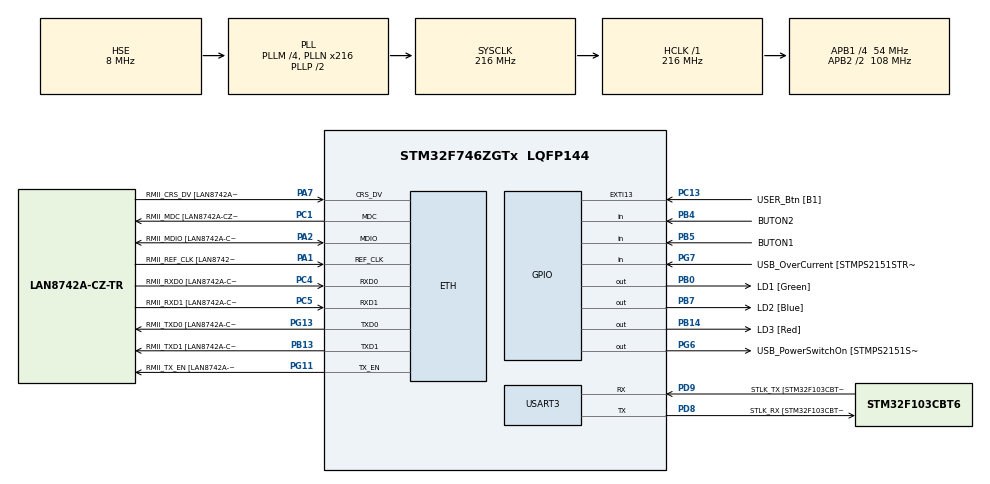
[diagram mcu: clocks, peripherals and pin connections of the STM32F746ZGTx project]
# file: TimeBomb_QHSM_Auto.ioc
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ETH.MediaInterface=ETH_MEDIA_INTERFACE_RMII
ETH.PHY_Name=LAN8742A_PHY_ADDRESS
ETH.PHY_Value=0
ETH.PhyAddress=0
Mcu.Family=STM32F7
Mcu.Name=STM32F746ZGTx
Mcu.Package=LQFP144
NVIC.EXTI15_10_IRQn=true\:0\:0\:false\:false\:true\:true\:true\:true
NVIC.PriorityGroup=NVIC_PRIORITYGROUP_4
PA1.GPIO_Label=RMII_REF_CLK [LAN8742A-CZ-TR_REFCLK0]
PA1.Mode=RMII
PA1.Signal=ETH_REF_CLK
PA13.GPIO_Label=TMS
PA13.Mode=Trace_Asynchronous_SW
PA13.Signal=SYS_JTMS-SWDIO
PA14.GPIO_Label=TCK
PA14.Mode=Trace_Asynchronous_SW
PA14.Signal=SYS_JTCK-SWCLK
PA2.GPIO_Label=RMII_MDIO [LAN8742A-CZ-TR_MDIO]
PA2.Mode=RMII
PA2.Signal=ETH_MDIO
PA7.GPIO_Label=RMII_CRS_DV [LAN8742A-CZ-TR_CRS_DV]
PA7.Mode=RMII
PA7.Signal=ETH_CRS_DV
PB0.GPIO_Label=LD1 [Green]
PB0.Signal=GPIO_Output
PB13.GPIO_Label=RMII_TXD1 [LAN8742A-CZ-TR_TXD1]
PB13.Mode=RMII
PB13.Signal=ETH_TXD1
PB14.GPIO_Label=LD3 [Red]
PB14.Signal=GPIO_Output
PB3.GPIO_Label=SW0
PB3.Mode=Trace_Asynchronous_SW
PB3.Signal=SYS_JTDO-SWO
PB4.GPIO_Label=BUTON2
PB4.GPIO_PuPd=GPIO_PULLDOWN
PB4.Signal=GPIO_Input
PB5.GPIO_Label=BUTON1
PB5.GPIO_PuPd=GPIO_PULLDOWN
PB5.Signal=GPIO_Input
PB7.GPIO_Label=LD2 [Blue]
PB7.Signal=GPIO_Output
PC1.GPIO_Label=RMII_MDC [LAN8742A-CZ-TR_MDC]
PC1.Mode=RMII
PC1.Signal=ETH_MDC
PC13.GPIO_Label=USER_Btn [B1]
PC13.GPIO_ModeDefaultEXTI=GPIO_MODE_IT_RISING_FALLING
PC13.GPIO_PuPd=GPIO_PULLDOWN
PC13.Signal=GPXTI13
PC14/OSC32_IN.Mode=LSE-External-Oscillator
PC14/OSC32_IN.Signal=RCC_OSC32_IN
PC15/OSC32_OUT.Mode=LSE-External-Oscillator
PC15/OSC32_OUT.Signal=RCC_OSC32_OUT
PC4.GPIO_Label=RMII_RXD0 [LAN8742A-CZ-TR_RXD0]
PC4.Mode=RMII
PC4.Signal=ETH_RXD0
PC5.GPIO_Label=RMII_RXD1 [LAN8742A-CZ-TR_RXD1]
PC5.Mode=RMII
PC5.Signal=ETH_RXD1
PD8.GPIO_Label=STLK_RX [STM32F103CBT6_PA3]
PD8.Mode=Asynchronous
PD8.Signal=USART3_TX
PD9.GPIO_Label=STLK_TX [STM32F103CBT6_PA2]
PD9.Mode=Asynchronous
PD9.Signal=USART3_RX
PG11.GPIO_Label=RMII_TX_EN [LAN8742A-CZ-TR_TXEN]
PG11.Mode=RMII
PG11.Signal=ETH_TX_EN
PG13.GPIO_Label=RMII_TXD0 [LAN8742A-CZ-TR_TXD0]
PG13.Mode=RMII
PG13.Signal=ETH_TXD0
PG6.GPIO_Label=USB_PowerSwitchOn [STMPS2151STR_EN]
PG6.Signal=GPIO_Output
PG7.GPIO_Label=USB_OverCurrent [STMPS2151STR_FAULT]
PG7.Signal=GPIO_Input
PH0/OSC_IN.GPIO_Label=MCO [STM32F103CBT6_PA8]
PH0/OSC_IN.Mode=HSE-External-Clock-Source
PH0/OSC_IN.Signal=RCC_OSC_IN
PH1/OSC_OUT.Mode=HSE-External-Clock-Source
PH1/OSC_OUT.Signal=RCC_OSC_OUT
ProjectManager.HeapSize=0x200
ProjectManager.StackSize=0x400
ProjectManager.TargetToolchain=STM32CubeIDE
RCC.48MHZClocksFreq_Value=24000000
RCC.AHBFreq_Value=216000000
RCC.APB1CLKDivider=RCC_HCLK_DIV4
RCC.APB1Freq_Value=54000000
RCC.APB1TimFreq_Value=108000000
RCC.APB2CLKDivider=RCC_HCLK_DIV2
RCC.APB2Freq_Value=108000000
RCC.APB2TimCLKDivider=1
RCC.APB2TimFreq_Value=108000000
RCC.CortexFreq_Value=216000000
RCC.HCLKFreq_Value=216000000
RCC.HSE_VALUE=8000000
RCC.HSI_VALUE=16000000
RCC.PLLM=4
RCC.PLLMUL=RCC_PLL_MUL9
RCC.PLLN=216
RCC.PLLQ=9
RCC.PLLSourceVirtual=RCC_PLLSOURCE_HSE
RCC.PRESCALERUSB=RCC_USBCLKSOURCE_PLL_DIV1_5
RCC.SYSCLKFreq_VALUE=216000000
RCC.SYSCLKSource=RCC_SYSCLKSOURCE_PLLCLK
RCC.SYSCLKSourceVirtual=RCC_SYSCLKSOURCE_PLLCLK
RCC.USBFreq_Value=48000000
RCC.VCOOutputFreq_Value=432000000
USART3.VirtualMode-Asynchronous=VM_ASYNC
board=NUCLEO-F746ZG

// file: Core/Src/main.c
/* USER CODE BEGIN Header */
/**
  ******************************************************************************
  * @file           : main.c
  * @brief          : Main program body
  ******************************************************************************
  * @attention
  *
  * Copyright (c) 2022 STMicroelectronics.
  * All rights reserved.
  *
  * This software is licensed under terms that can be found in the LICENSE file
  * in the root directory of this software component.
  * If no LICENSE file comes with this software, it is provided AS-IS.
  *
  ******************************************************************************
  */
/* USER CODE END Header */
#include "main.h"

/* USER CODE BEGIN Includes */
#include "stdio.h"
#include "stdlib.h"  /*For malloc function*/
#include "stdbool.h"
#include "retarget.h"
#include "Timebomb.h"

Q_DEFINE_THIS_MODULE("main");

/* USER CODE END Includes */

ETH_HandleTypeDef heth;

UART_HandleTypeDef huart3;

void SystemClock_Config(void);
static void MX_GPIO_Init(void);
static void MX_ETH_Init(void);
static void MX_USART3_UART_Init(void);
/* USER CODE BEGIN PFP */

void Q_onAssert(char const *module, int loc);

/* USER CODE END PFP */

/* USER CODE BEGIN 0 */

static QEvt const *timeBomb_queue[10];
static TimeBomb timeBomb;
QActive *AO_TimeBomb = &timeBomb.super;
/* USER CODE END 0 */

int main(void)
{
  /* USER CODE BEGIN 1 */

//  QF_init();  /* initialize the framework */
  /* USER CODE END 1 */

  /* MCU Configuration--------------------------------------------------------*/

  /* Reset of all peripherals, Initializes the Flash interface and the Systick. */
  HAL_Init();

  /* Configure the system clock */
  SystemClock_Config();

  /* Initialize all configured peripherals */
  MX_GPIO_Init();
//  MX_ETH_Init();
  MX_USART3_UART_Init();
  /* USER CODE BEGIN 2 */
  RetargetInit(&huart3);

  QF_init();
  TimeBomb_ctor(&timeBomb);
  QACTIVE_START(AO_TimeBomb,2U,timeBomb_queue,sizeof(timeBomb_queue)/sizeof(timeBomb_queue[0]),(void*)0,0U,(void*)0);
  QF_run();
  return 0;

  /* USER CODE END 2 */

  /* Infinite loop */
  while (1)
  {

  }
}

void SystemClock_Config(void)
{
  RCC_OscInitTypeDef RCC_OscInitStruct = {0};
  RCC_ClkInitTypeDef RCC_ClkInitStruct = {0};

  /** Configure LSE Drive Capability
  */
  HAL_PWR_EnableBkUpAccess();

  /** Configure the main internal regulator output voltage
  */
  __HAL_RCC_PWR_CLK_ENABLE();
  __HAL_PWR_VOLTAGESCALING_CONFIG(PWR_REGULATOR_VOLTAGE_SCALE1);

  /** Initializes the RCC Oscillators according to the specified parameters
  * in the RCC_OscInitTypeDef structure.
  */
  RCC_OscInitStruct.OscillatorType = RCC_OSCILLATORTYPE_HSE;
  RCC_OscInitStruct.HSEState = RCC_HSE_BYPASS;
  RCC_OscInitStruct.PLL.PLLState = RCC_PLL_ON;
  RCC_OscInitStruct.PLL.PLLSource = RCC_PLLSOURCE_HSE;
  RCC_OscInitStruct.PLL.PLLM = 4;
  RCC_OscInitStruct.PLL.PLLN = 216;
  RCC_OscInitStruct.PLL.PLLP = RCC_PLLP_DIV2;
  RCC_OscInitStruct.PLL.PLLQ = 9;
  if (HAL_RCC_OscConfig(&RCC_OscInitStruct) != HAL_OK)
  {
    Error_Handler();
  }

  /** Activate the Over-Drive mode
  */
  if (HAL_PWREx_EnableOverDrive() != HAL_OK)
  {
    Error_Handler();
  }

  /** Initializes the CPU, AHB and APB buses clocks
  */
  RCC_ClkInitStruct.ClockType = RCC_CLOCKTYPE_HCLK|RCC_CLOCKTYPE_SYSCLK
                              |RCC_CLOCKTYPE_PCLK1|RCC_CLOCKTYPE_PCLK2;
  RCC_ClkInitStruct.SYSCLKSource = RCC_SYSCLKSOURCE_PLLCLK;
  RCC_ClkInitStruct.AHBCLKDivider = RCC_SYSCLK_DIV1;
  RCC_ClkInitStruct.APB1CLKDivider = RCC_HCLK_DIV4;
  RCC_ClkInitStruct.APB2CLKDivider = RCC_HCLK_DIV2;

  if (HAL_RCC_ClockConfig(&RCC_ClkInitStruct, FLASH_LATENCY_7) != HAL_OK)
  {
    Error_Handler();
  }
}

static void MX_ETH_Init(void)
{

   static uint8_t MACAddr[6];

  heth.Instance = ETH;
  heth.Init.AutoNegotiation = ETH_AUTONEGOTIATION_ENABLE;
  heth.Init.Speed = ETH_SPEED_100M;
  heth.Init.DuplexMode = ETH_MODE_FULLDUPLEX;
  heth.Init.PhyAddress = LAN8742A_PHY_ADDRESS;
  MACAddr[0] = 0x00;
  MACAddr[1] = 0x80;
  MACAddr[2] = 0xE1;
  MACAddr[3] = 0x00;
  MACAddr[4] = 0x00;
  MACAddr[5] = 0x00;
  heth.Init.MACAddr = &MACAddr[0];
  heth.Init.RxMode = ETH_RXPOLLING_MODE;
  heth.Init.ChecksumMode = ETH_CHECKSUM_BY_HARDWARE;
  heth.Init.MediaInterface = ETH_MEDIA_INTERFACE_RMII;

  if (HAL_ETH_Init(&heth) != HAL_OK)
  {
    Error_Handler();
  }

}

static void MX_USART3_UART_Init(void)
{

  huart3.Instance = USART3;
  huart3.Init.BaudRate = 115200;
  huart3.Init.WordLength = UART_WORDLENGTH_8B;
  huart3.Init.StopBits = UART_STOPBITS_1;
  huart3.Init.Parity = UART_PARITY_NONE;
  huart3.Init.Mode = UART_MODE_TX_RX;
  huart3.Init.HwFlowCtl = UART_HWCONTROL_NONE;
  huart3.Init.OverSampling = UART_OVERSAMPLING_16;
  huart3.Init.OneBitSampling = UART_ONE_BIT_SAMPLE_DISABLE;
  huart3.AdvancedInit.AdvFeatureInit = UART_ADVFEATURE_NO_INIT;
  if (HAL_UART_Init(&huart3) != HAL_OK)
  {
    Error_Handler();
  }

}

static void MX_GPIO_Init(void)
{
  GPIO_InitTypeDef GPIO_InitStruct = {0};

  /* GPIO Ports Clock Enable */
  __HAL_RCC_GPIOC_CLK_ENABLE();
  __HAL_RCC_GPIOH_CLK_ENABLE();
  __HAL_RCC_GPIOA_CLK_ENABLE();
  __HAL_RCC_GPIOB_CLK_ENABLE();
  __HAL_RCC_GPIOD_CLK_ENABLE();
  __HAL_RCC_GPIOG_CLK_ENABLE();

  /*Configure GPIO pin Output Level */
  HAL_GPIO_WritePin(GPIOB, LD1_Pin|LD3_Pin|LD2_Pin, GPIO_PIN_RESET);

  /*Configure GPIO pin Output Level */
  HAL_GPIO_WritePin(USB_PowerSwitchOn_GPIO_Port, USB_PowerSwitchOn_Pin, GPIO_PIN_RESET);

  /*Configure GPIO pin : USER_Btn_Pin */
  GPIO_InitStruct.Pin = USER_Btn_Pin;
  GPIO_InitStruct.Mode = GPIO_MODE_IT_RISING_FALLING;
  GPIO_InitStruct.Pull = GPIO_PULLDOWN;
  HAL_GPIO_Init(USER_Btn_GPIO_Port, &GPIO_InitStruct);

  /*Configure GPIO pins : LD1_Pin LD3_Pin LD2_Pin */
  GPIO_InitStruct.Pin = LD1_Pin|LD3_Pin|LD2_Pin;
  GPIO_InitStruct.Mode = GPIO_MODE_OUTPUT_PP;
  GPIO_InitStruct.Pull = GPIO_NOPULL;
  GPIO_InitStruct.Speed = GPIO_SPEED_FREQ_LOW;
  HAL_GPIO_Init(GPIOB, &GPIO_InitStruct);

  /*Configure GPIO pin : USB_PowerSwitchOn_Pin */
  GPIO_InitStruct.Pin = USB_PowerSwitchOn_Pin;
  GPIO_InitStruct.Mode = GPIO_MODE_OUTPUT_PP;
  GPIO_InitStruct.Pull = GPIO_NOPULL;
  GPIO_InitStruct.Speed = GPIO_SPEED_FREQ_LOW;
  HAL_GPIO_Init(USB_PowerSwitchOn_GPIO_Port, &GPIO_InitStruct);

  /*Configure GPIO pin : USB_OverCurrent_Pin */
  GPIO_InitStruct.Pin = USB_OverCurrent_Pin;
  GPIO_InitStruct.Mode = GPIO_MODE_INPUT;
  GPIO_InitStruct.Pull = GPIO_NOPULL;
  HAL_GPIO_Init(USB_OverCurrent_GPIO_Port, &GPIO_InitStruct);

  /*Configure GPIO pins : BUTON2_Pin BUTON1_Pin */
  GPIO_InitStruct.Pin = BUTON2_Pin|BUTON1_Pin;
  GPIO_InitStruct.Mode = GPIO_MODE_INPUT;
  GPIO_InitStruct.Pull = GPIO_PULLDOWN;
  HAL_GPIO_Init(GPIOB, &GPIO_InitStruct);

  /* EXTI interrupt init*/
  HAL_NVIC_SetPriority(EXTI15_10_IRQn, 0, 0);
  HAL_NVIC_EnableIRQ(EXTI15_10_IRQn);

}

/* USER CODE BEGIN 4 */

void Q_onAssert(char const *module, int loc) {
    /* TBD: damage control */
    (void)module; /* avoid the "unused parameter" compiler warning */
    (void)loc;    /* avoid the "unused parameter" compiler warning */
    NVIC_SystemReset();
}

/**
  * @brief  SYSTICK callback.
  * @retval None
  */
void HAL_SYSTICK_Callback(void)
{
  /* NOTE : This function Should not be modified, when the callback is needed,
            the HAL_SYSTICK_Callback could be implemented in the user file
   */

	App_TimeTickHook();
	__NOP();
}

/* USER CODE END 4 */

void Error_Handler(void)
{
  __disable_irq();
  while (1)
  {
  }
}
